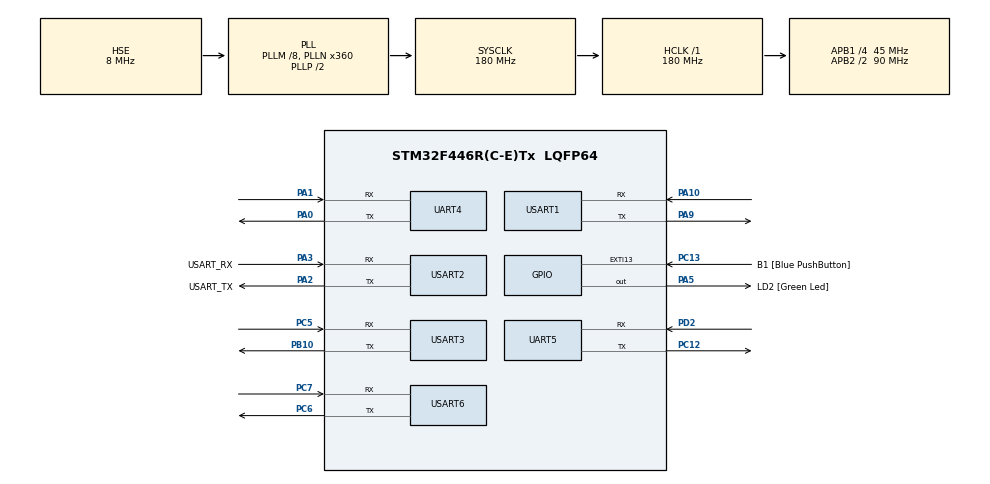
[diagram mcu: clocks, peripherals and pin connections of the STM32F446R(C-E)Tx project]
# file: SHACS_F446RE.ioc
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Dma.Request0=USART2_RX
Dma.USART2_RX.0.Direction=DMA_PERIPH_TO_MEMORY
Dma.USART2_RX.0.FIFOMode=DMA_FIFOMODE_DISABLE
Dma.USART2_RX.0.Instance=DMA1_Stream5
Dma.USART2_RX.0.MemDataAlignment=DMA_MDATAALIGN_BYTE
Dma.USART2_RX.0.MemInc=DMA_MINC_ENABLE
Dma.USART2_RX.0.Mode=DMA_CIRCULAR
Dma.USART2_RX.0.PeriphDataAlignment=DMA_PDATAALIGN_BYTE
Dma.USART2_RX.0.PeriphInc=DMA_PINC_DISABLE
Dma.USART2_RX.0.Priority=DMA_PRIORITY_VERY_HIGH
FREERTOS.Tasks01=defaultTask,0,128,StartDefaultTask,Default,NULL
Mcu.Family=STM32F4
Mcu.Name=STM32F446R(C-E)Tx
Mcu.Package=LQFP64
NVIC.DMA1_Stream5_IRQn=true\:5\:0\:false\:false\:true\:true\:false\:true
NVIC.PriorityGroup=NVIC_PRIORITYGROUP_4
NVIC.TIM1_UP_TIM10_IRQn=true\:0\:0\:false\:false\:true\:false\:false\:true
NVIC.TimeBase=TIM1_UP_TIM10_IRQn
NVIC.TimeBaseIP=TIM1
NVIC.UART4_IRQn=true\:5\:0\:false\:false\:true\:true\:true\:true
NVIC.UART5_IRQn=true\:5\:0\:false\:false\:true\:true\:true\:true
NVIC.USART1_IRQn=true\:5\:0\:false\:false\:true\:true\:true\:true
NVIC.USART2_IRQn=true\:5\:0\:false\:false\:true\:true\:true\:true
NVIC.USART3_IRQn=true\:5\:0\:false\:false\:true\:true\:true\:true
NVIC.USART6_IRQn=true\:5\:0\:false\:false\:true\:true\:true\:true
PA0-WKUP.Mode=Asynchronous
PA0-WKUP.Signal=UART4_TX
PA1.Mode=Asynchronous
PA1.Signal=UART4_RX
PA10.Mode=Asynchronous
PA10.Signal=USART1_RX
PA13.GPIO_Label=TMS
PA13.Signal=SYS_JTMS-SWDIO
PA14.GPIO_Label=TCK
PA14.Signal=SYS_JTCK-SWCLK
PA2.GPIO_Label=USART_TX
PA2.Mode=Asynchronous
PA2.Signal=USART2_TX
PA3.GPIO_Label=USART_RX
PA3.Mode=Asynchronous
PA3.Signal=USART2_RX
PA5.GPIO_Label=LD2 [Green Led]
PA5.Signal=GPIO_Output
PA9.Mode=Asynchronous
PA9.Signal=USART1_TX
PB10.Mode=Asynchronous
PB10.Signal=USART3_TX
PB3.GPIO_Label=SWO
PB3.Signal=SYS_JTDO-SWO
PC12.Mode=Asynchronous
PC12.Signal=UART5_TX
PC13.GPIO_Label=B1 [Blue PushButton]
PC13.GPIO_ModeDefaultEXTI=GPIO_MODE_IT_FALLING
PC13.Signal=GPXTI13
PC14-OSC32_IN.Mode=LSE-External-Oscillator
PC14-OSC32_IN.Signal=RCC_OSC32_IN
PC15-OSC32_OUT.Mode=LSE-External-Oscillator
PC15-OSC32_OUT.Signal=RCC_OSC32_OUT
PC5.Mode=Asynchronous
PC5.Signal=USART3_RX
PC6.Mode=Asynchronous
PC6.Signal=USART6_TX
PC7.Mode=Asynchronous
PC7.Signal=USART6_RX
PD2.Mode=Asynchronous
PD2.Signal=UART5_RX
PH0-OSC_IN.Mode=HSE-External-Oscillator
PH0-OSC_IN.Signal=RCC_OSC_IN
PH1-OSC_OUT.Mode=HSE-External-Oscillator
PH1-OSC_OUT.Signal=RCC_OSC_OUT
ProjectManager.HeapSize=0x800
ProjectManager.StackSize=0x400
ProjectManager.TargetToolchain=EWARM V7
RCC.48MHZClocksFreq_Value=84000000
RCC.AHBFreq_Value=180000000
RCC.APB1CLKDivider=RCC_HCLK_DIV4
RCC.APB1Freq_Value=45000000
RCC.APB1TimFreq_Value=90000000
RCC.APB2CLKDivider=RCC_HCLK_DIV2
RCC.APB2Freq_Value=90000000
RCC.APB2TimFreq_Value=180000000
RCC.CortexFreq_Value=180000000
RCC.FLatency-AdvancedSettings=FLASH_LATENCY_5
RCC.HCLKFreq_Value=180000000
RCC.HSE_VALUE=8000000
RCC.HSI_VALUE=16000000
RCC.PLLM=8
RCC.PLLN=360
RCC.PLLSourceVirtual=RCC_PLLSOURCE_HSE
RCC.SYSCLKFreq_VALUE=180000000
RCC.SYSCLKSource=RCC_SYSCLKSOURCE_PLLCLK
RCC.USBFreq_Value=180000000
RCC.VCOOutputFreq_Value=360000000
UART4.VirtualMode=Asynchronous
UART5.VirtualMode=Asynchronous
USART1.VirtualMode=VM_ASYNC
USART2.VirtualMode=VM_ASYNC
USART3.VirtualMode=VM_ASYNC
USART6.VirtualMode=VM_ASYNC
VP_FREERTOS_VS_CMSIS_V1.Mode=CMSIS_V1
VP_SYS_VS_tim1.Mode=TIM1
board=NUCLEO-F446RE

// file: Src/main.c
/* USER CODE BEGIN Header */
/**
  ******************************************************************************
  * @file           : main.c
  * @brief          : Main program body
  ******************************************************************************
  * @attention
  *
  * <h2><center>&copy; Copyright (c) 2019 STMicroelectronics.
  * All rights reserved.</center></h2>
  *
  * This software component is licensed by ST under Ultimate Liberty license
  * SLA0044, the "License"; You may not use this file except in compliance with
  * the License. You may obtain a copy of the License at:
  *                             www.st.com/SLA0044
  *
  ******************************************************************************
  */
/* USER CODE END Header */

#include "main.h"
#include "cmsis_os.h"

UART_HandleTypeDef huart4;
UART_HandleTypeDef huart5;
UART_HandleTypeDef huart1;
UART_HandleTypeDef huart2;
UART_HandleTypeDef huart3;
UART_HandleTypeDef huart6;
DMA_HandleTypeDef hdma_usart1_rx;

//#define	SHACS_BRD
#define	NUCLEO_446RE_LED_TEST
#define	WIFI_ON

#ifdef __GNUC__
#define PUTCHAR_PROTOTYPE int __io_putchar(int ch)
#else
#define PUTCHAR_PROTOTYPE int fputc(int ch, FILE *f)
#endif /* __GNUC__ */

PUTCHAR_PROTOTYPE
{
	HAL_UART_Transmit(&huart2, (uint8_t *)&ch, 1, 0xFFFF);
	return ch;
}

osThreadId defaultTaskHandle;
osThreadId Task1Handle;
osThreadId Task2Handle;
osThreadId Task3Handle;
osThreadId Task5Handle;
osThreadId Task6Handle;
osThreadId Task7Handle;
osThreadId Task8Handle;

osTimerId ZWhostAppTimerHandle;
osSemaphoreId ZwCommandQueueHandle;
osSemaphoreId ZwTransmitQueueHandle;
osSemaphoreId BtCommandQueueHandle;
osSemaphoreId UsbCommandQueueHandle;
osSemaphoreId WifiCommandQueueHandle;
osSemaphoreId BtResponseQueueHandle;
osSemaphoreId UsbResponseQueueHandle;
osSemaphoreId WifiResponseQueueHandle;

//#define		_USE_SEMAPHOE_HANDLING_UART
#ifdef	_USE_SEMAPHOE_HANDLING_UART
osSemaphoreId U1commandQueueHandle;
osSemaphoreId U3commandQueueHandle;
osSemaphoreId U4commandQueueHandle;
osSemaphoreId U5commandQueueHandle;
#endif

void SystemClock_Config(void);
static void MX_GPIO_Init(void);
static void MX_DMA_Init(void);
static void MX_UART4_Init(void);
static void MX_UART5_Init(void);
static void MX_USART1_UART_Init(void);
static void MX_USART2_UART_Init(void);
static void MX_USART3_UART_Init(void);
static void MX_USART6_UART_Init(void);
//void StartDefaultTask(void const * argument);
void CallbackFuntion(void const * argument);
void LedTask1(void const * argument);

extern	void APIProcTask(void const * argument);
extern 	void DispatchProcTask(void const * argument);
extern 	void BtSerialApp(void const * argument);
extern 	void UsbSerialApp(void const * argument);
#ifdef	WIFI_ON
extern 	void WifiSerialApp(void const * argument);
#endif
extern 	void ZWApp_main(void const * argument);

#define	UART1_RX_BUF_SIZE	64

uint8_t	Uart1_Rx_buffer[UART1_RX_BUF_SIZE];
uint8_t	Widx1 = 0;
uint8_t	Ridx1 = 0;
/* DMA Timeout event structure
 * Note: prevCNDTR initial value must be set to maximum size of DMA buffer!
*/
DMA_Event_t dma_uart_rx = {0,0,DMA_BUF_SIZE};

uint8_t dma_rx_buf[DMA_BUF_SIZE];       /* Circular buffer for DMA */
uint8_t data[DMA_BUF_SIZE] = {'\0'};    /* Data buffer that contains newly received data */

#define	UART3_RX_BUF_SIZE	32

uint8_t	Uart3_Rx_buffer[UART3_RX_BUF_SIZE];
uint8_t	Widx3 = 0;
uint8_t	Ridx3 = 0;

#define	UART4_RX_BUF_SIZE	32

uint8_t	Uart4_Rx_buffer[UART4_RX_BUF_SIZE];
uint8_t	Widx4 = 0;
uint8_t	Ridx4 = 0;

#define	UART5_RX_BUF_SIZE	32

uint8_t	Uart5_Rx_buffer[UART5_RX_BUF_SIZE];
uint8_t	Widx5 = 0;
uint8_t	Ridx5 = 0;

#define	UART6_RX_BUF_SIZE	32

uint8_t	Uart6_Rx_buffer[UART6_RX_BUF_SIZE];
uint8_t	Widx6 = 0;
uint8_t	Ridx6 = 0;

int main(void)
{

  /* MCU Configuration--------------------------------------------------------*/

  /* Reset of all peripherals, Initializes the Flash interface and the Systick. */
  HAL_Init();

  /* Configure the system clock */
  SystemClock_Config();

  /* Initialize all configured peripherals */
  MX_GPIO_Init();
  MX_DMA_Init();
#ifdef WIFI_ON
  MX_UART4_Init();
#endif
  MX_UART5_Init();
  MX_USART1_UART_Init();
  MX_USART2_UART_Init();
  MX_USART3_UART_Init();
  MX_USART6_UART_Init();

  // LED
  HAL_GPIO_WritePin(GPIOC, GPIO_PIN_5, GPIO_PIN_SET);
  HAL_GPIO_WritePin(GPIOC, GPIO_PIN_6, GPIO_PIN_RESET);
  HAL_GPIO_WritePin(GPIOC, GPIO_PIN_7, GPIO_PIN_RESET);

  // OTG Disable ????
  HAL_GPIO_WritePin(GPIOB, GPIO_PIN_6, GPIO_PIN_SET);
  HAL_GPIO_WritePin(GPIOB, GPIO_PIN_5, GPIO_PIN_RESET);

  /* USER CODE BEGIN 2 */
  __HAL_UART_ENABLE_IT(&huart3, UART_IT_RXNE);
#ifdef	WIFI_ON
  __HAL_UART_ENABLE_IT(&huart4, UART_IT_RXNE);
#endif
  __HAL_UART_ENABLE_IT(&huart5, UART_IT_RXNE);
  __HAL_UART_ENABLE_IT(&huart6, UART_IT_RXNE);
//  __HAL_UART_ENABLE_IT(&huart1, UART_IT_IDLE);
  /* USER CODE END 2 */

  //  HAL_GPIO_WritePin(GPIOC, GPIO_PIN_7, 1);

  /* Create the semaphores(s) */
  /* definition and creation of commandQueue */
  osSemaphoreDef(ZwCommandQueue);
  ZwCommandQueueHandle = osSemaphoreCreate(osSemaphore(ZwCommandQueue), 1);

  /* definition and creation of transmitQueue */
  osSemaphoreDef(ZwTransmitQueue);
  ZwTransmitQueueHandle = osSemaphoreCreate(osSemaphore(ZwTransmitQueue), 1);

  /* definition and creation of BtcommandQueue */
  osSemaphoreDef(BtCommandQueue);
  BtCommandQueueHandle = osSemaphoreCreate(osSemaphore(BtCommandQueue), 1);

  /* definition and creation of UsbcommandQueue */
  osSemaphoreDef(UsbCommandQueue);
  UsbCommandQueueHandle = osSemaphoreCreate(osSemaphore(UsbCommandQueue), 1);

  /* definition and creation of WificommandQueue */
  osSemaphoreDef(WifiCommandQueue);
  WifiCommandQueueHandle = osSemaphoreCreate(osSemaphore(WifiCommandQueue), 1);

  /* definition and creation of BtresponseQueue */
  osSemaphoreDef(BtResponseQueue);
  BtResponseQueueHandle = osSemaphoreCreate(osSemaphore(BtResponseQueue), 1);

  /* definition and creation of UsbcommandQueue */
  osSemaphoreDef(UsbResponseQueue);
  UsbResponseQueueHandle = osSemaphoreCreate(osSemaphore(UsbResponseQueue), 1);

  /* definition and creation of WificommandQueue */
  osSemaphoreDef(WifiResponseQueue);
  WifiResponseQueueHandle = osSemaphoreCreate(osSemaphore(WifiResponseQueue), 1);

#ifdef	_USE_SEMAPHOE_HANDLING_UART
  /* definition and creation of U1commandQueue */
  osSemaphoreDef(U1commandQueue);
  U1commandQueueHandle = osSemaphoreCreate(osSemaphore(U1commandQueue), 1);

  /* definition and creation of U3commandQueue */
  osSemaphoreDef(U3commandQueue);
  U3commandQueueHandle = osSemaphoreCreate(osSemaphore(U3commandQueue), 1);

  /* definition and creation of U4commandQueue */
  osSemaphoreDef(U4commandQueue);
  U4commandQueueHandle = osSemaphoreCreate(osSemaphore(U4commandQueue), 1);

  /* definition and creation of U5commandQueue */
  osSemaphoreDef(U5commandQueue);
  U5commandQueueHandle = osSemaphoreCreate(osSemaphore(U5commandQueue), 1);

  /* definition and creation of U5commandQueue */
  osSemaphoreDef(U6commandQueue);
  U6commandQueueHandle = osSemaphoreCreate(osSemaphore(U6commandQueue), 1);
#endif

  /* Create the timer(s) */
  /* definition and creation of ZWhostAppTimer */
  osTimerDef(ZWhostAppTimer, CallbackFuntion);
  ZWhostAppTimerHandle = osTimerCreate(osTimer(ZWhostAppTimer), osTimerPeriodic, NULL);

  /* Create the thread(s) */
  /* definition and creation of defaultTask */
//  osThreadDef(defaultTask, StartDefaultTask, osPriorityNormal, 0, 128);
//  defaultTaskHandle = osThreadCreate(osThread(defaultTask), NULL);

  /* USER CODE BEGIN RTOS_THREADS */
  /* add threads, ... */
    osThreadDef(Task1, DispatchProcTask, osPriorityAboveNormal, 0, 1024);
    Task1Handle = osThreadCreate(osThread(Task1), NULL);

    osThreadDef(Task2, LedTask1, osPriorityLow, 0, 128);
    Task2Handle = osThreadCreate(osThread(Task2), NULL);

    osThreadDef(Task3, APIProcTask, osPriorityHigh, 0, 1024);
    Task3Handle = osThreadCreate(osThread(Task3), NULL);

    osThreadDef(Task5, BtSerialApp, osPriorityBelowNormal, 0, 512);
    Task5Handle = osThreadCreate(osThread(Task5), NULL);

    osThreadDef(Task6, UsbSerialApp, osPriorityBelowNormal, 0, 512);
    Task6Handle = osThreadCreate(osThread(Task6), NULL);

 #ifdef	WIFI_ON
    osThreadDef(Task8, WifiSerialApp, osPriorityBelowNormal, 0, 512);
    Task8Handle = osThreadCreate(osThread(Task8), NULL);
 #endif

    osThreadDef(Task7, ZWApp_main, osPriorityNormal, 0, 1024);
    Task7Handle = osThreadCreate(osThread(Task7), NULL);

  /* USER CODE END RTOS_THREADS */

  /* Start scheduler */
  osKernelStart();

  /* We should never get here as control is now taken by the scheduler */

  /* Infinite loop */
  /* USER CODE BEGIN WHILE */
   if(HAL_UART_Receive_DMA(&huart1, (uint8_t*)dma_rx_buf, DMA_BUF_SIZE) != HAL_OK)
  {
      Error_Handler();
  }

  /* Disable Half Transfer Interrupt */
  __HAL_DMA_DISABLE_IT(huart1.hdmarx, DMA_IT_HT);

  while (1)
  {
    /* USER CODE END WHILE */

  }
}

#ifdef SHACS_BRD
void SystemClock_Config(void)
{
  RCC_OscInitTypeDef RCC_OscInitStruct = {0};
  RCC_ClkInitTypeDef RCC_ClkInitStruct = {0};

  /** Configure the main internal regulator output voltage
  */
  __HAL_RCC_PWR_CLK_ENABLE();
  __HAL_PWR_VOLTAGESCALING_CONFIG(PWR_REGULATOR_VOLTAGE_SCALE1);
  /** Initializes the CPU, AHB and APB busses clocks
  */
  RCC_OscInitStruct.OscillatorType = RCC_OSCILLATORTYPE_HSE;
  RCC_OscInitStruct.HSEState = RCC_HSE_ON;
  RCC_OscInitStruct.PLL.PLLState = RCC_PLL_ON;
  RCC_OscInitStruct.PLL.PLLSource = RCC_PLLSOURCE_HSE;
  RCC_OscInitStruct.PLL.PLLM = 8;
  RCC_OscInitStruct.PLL.PLLN = 360;
  RCC_OscInitStruct.PLL.PLLP = RCC_PLLP_DIV2;
  RCC_OscInitStruct.PLL.PLLQ = 2;
  RCC_OscInitStruct.PLL.PLLR = 2;
  if (HAL_RCC_OscConfig(&RCC_OscInitStruct) != HAL_OK)
  {
    Error_Handler();
  }
  /** Activate the Over-Drive mode
  */
  if (HAL_PWREx_EnableOverDrive() != HAL_OK)
  {
    Error_Handler();
  }
  /** Initializes the CPU, AHB and APB busses clocks
  */
  RCC_ClkInitStruct.ClockType = RCC_CLOCKTYPE_HCLK|RCC_CLOCKTYPE_SYSCLK
                              |RCC_CLOCKTYPE_PCLK1|RCC_CLOCKTYPE_PCLK2;
  RCC_ClkInitStruct.SYSCLKSource = RCC_SYSCLKSOURCE_PLLCLK;
  RCC_ClkInitStruct.AHBCLKDivider = RCC_SYSCLK_DIV1;
  RCC_ClkInitStruct.APB1CLKDivider = RCC_HCLK_DIV4;
  RCC_ClkInitStruct.APB2CLKDivider = RCC_HCLK_DIV2;

  if (HAL_RCC_ClockConfig(&RCC_ClkInitStruct, FLASH_LATENCY_5) != HAL_OK)
  {
    Error_Handler();
  }
}

#else
void SystemClock_Config(void)
{
  RCC_OscInitTypeDef RCC_OscInitStruct = {0};
  RCC_ClkInitTypeDef RCC_ClkInitStruct = {0};

  /** Configure the main internal regulator output voltage
  */
  __HAL_RCC_PWR_CLK_ENABLE();
  __HAL_PWR_VOLTAGESCALING_CONFIG(PWR_REGULATOR_VOLTAGE_SCALE1);
  /** Initializes the CPU, AHB and APB busses clocks
  */
  RCC_OscInitStruct.OscillatorType = RCC_OSCILLATORTYPE_HSI;
  RCC_OscInitStruct.HSIState = RCC_HSI_ON;
  RCC_OscInitStruct.HSICalibrationValue = RCC_HSICALIBRATION_DEFAULT;
  RCC_OscInitStruct.PLL.PLLState = RCC_PLL_ON;
  RCC_OscInitStruct.PLL.PLLSource = RCC_PLLSOURCE_HSI;
  RCC_OscInitStruct.PLL.PLLM = 16;
  RCC_OscInitStruct.PLL.PLLN = 360;
  RCC_OscInitStruct.PLL.PLLP = RCC_PLLP_DIV2;
  RCC_OscInitStruct.PLL.PLLQ = 2;
  RCC_OscInitStruct.PLL.PLLR = 2;
  if (HAL_RCC_OscConfig(&RCC_OscInitStruct) != HAL_OK)
  {
    Error_Handler();
  }
  /** Activate the Over-Drive mode
  */
  if (HAL_PWREx_EnableOverDrive() != HAL_OK)
  {
    Error_Handler();
  }
  /** Initializes the CPU, AHB and APB busses clocks
  */
  RCC_ClkInitStruct.ClockType = RCC_CLOCKTYPE_HCLK|RCC_CLOCKTYPE_SYSCLK
                              |RCC_CLOCKTYPE_PCLK1|RCC_CLOCKTYPE_PCLK2;
  RCC_ClkInitStruct.SYSCLKSource = RCC_SYSCLKSOURCE_PLLCLK;
  RCC_ClkInitStruct.AHBCLKDivider = RCC_SYSCLK_DIV1;
  RCC_ClkInitStruct.APB1CLKDivider = RCC_HCLK_DIV4;
  RCC_ClkInitStruct.APB2CLKDivider = RCC_HCLK_DIV2;

  if (HAL_RCC_ClockConfig(&RCC_ClkInitStruct, FLASH_LATENCY_5) != HAL_OK)
  {
    Error_Handler();
  }
}
#endif

static void MX_UART4_Init(void)
{

  huart4.Instance = UART4;
  huart4.Init.BaudRate = 115200;
  huart4.Init.WordLength = UART_WORDLENGTH_8B;
  huart4.Init.StopBits = UART_STOPBITS_1;
  huart4.Init.Parity = UART_PARITY_NONE;
  huart4.Init.Mode = UART_MODE_TX_RX;
  huart4.Init.HwFlowCtl = UART_HWCONTROL_NONE;
  huart4.Init.OverSampling = UART_OVERSAMPLING_16;
  if (HAL_UART_Init(&huart4) != HAL_OK)
  {
    Error_Handler();
  }

}

static void MX_UART5_Init(void)
{

  huart5.Instance = UART5;
  huart5.Init.BaudRate = 115200;
  huart5.Init.WordLength = UART_WORDLENGTH_8B;
  huart5.Init.StopBits = UART_STOPBITS_1;
  huart5.Init.Parity = UART_PARITY_NONE;
  huart5.Init.Mode = UART_MODE_TX_RX;
  huart5.Init.HwFlowCtl = UART_HWCONTROL_NONE;
  huart5.Init.OverSampling = UART_OVERSAMPLING_16;
  if (HAL_UART_Init(&huart5) != HAL_OK)
  {
    Error_Handler();
  }

}

static void MX_USART1_UART_Init(void)
{

  huart1.Instance = USART1;
  huart1.Init.BaudRate = 115200;
  huart1.Init.WordLength = UART_WORDLENGTH_8B;
  huart1.Init.StopBits = UART_STOPBITS_1;
  huart1.Init.Parity = UART_PARITY_NONE;
  huart1.Init.Mode = UART_MODE_TX_RX;
  huart1.Init.HwFlowCtl = UART_HWCONTROL_NONE;
  huart1.Init.OverSampling = UART_OVERSAMPLING_16;
  if (HAL_UART_Init(&huart1) != HAL_OK)
  {
    Error_Handler();
  }

}

static void MX_USART2_UART_Init(void)
{

  huart2.Instance = USART2;
  huart2.Init.BaudRate = 115200;
  huart2.Init.WordLength = UART_WORDLENGTH_8B;
  huart2.Init.StopBits = UART_STOPBITS_1;
  huart2.Init.Parity = UART_PARITY_NONE;
  huart2.Init.Mode = UART_MODE_TX_RX;
  huart2.Init.HwFlowCtl = UART_HWCONTROL_NONE;
  huart2.Init.OverSampling = UART_OVERSAMPLING_16;
  if (HAL_UART_Init(&huart2) != HAL_OK)
  {
    Error_Handler();
  }

}

static void MX_USART3_UART_Init(void)
{

  huart3.Instance = USART3;
  huart3.Init.BaudRate = 115200;
  huart3.Init.WordLength = UART_WORDLENGTH_8B;
  huart3.Init.StopBits = UART_STOPBITS_1;
  huart3.Init.Parity = UART_PARITY_NONE;
  huart3.Init.Mode = UART_MODE_TX_RX;
  huart3.Init.HwFlowCtl = UART_HWCONTROL_NONE;
  huart3.Init.OverSampling = UART_OVERSAMPLING_16;
  if (HAL_UART_Init(&huart3) != HAL_OK)
  {
    Error_Handler();
  }

}

static void MX_USART6_UART_Init(void)
{

  huart6.Instance = USART6;
  huart6.Init.BaudRate = 115200;
  huart6.Init.WordLength = UART_WORDLENGTH_8B;
  huart6.Init.StopBits = UART_STOPBITS_1;
  huart6.Init.Parity = UART_PARITY_NONE;
  huart6.Init.Mode = UART_MODE_TX_RX;
  huart6.Init.HwFlowCtl = UART_HWCONTROL_NONE;
  huart6.Init.OverSampling = UART_OVERSAMPLING_16;
  if (HAL_UART_Init(&huart6) != HAL_OK)
  {
    Error_Handler();
  }

}

static void MX_DMA_Init(void)
{
  /* DMA controller clock enable */
  __HAL_RCC_DMA2_CLK_ENABLE();

  /* DMA interrupt init */
  /* DMA2_Stream2_IRQn interrupt configuration */
  HAL_NVIC_SetPriority(DMA2_Stream2_IRQn, 5, 0);
  HAL_NVIC_EnableIRQ(DMA2_Stream2_IRQn);

}

static void MX_GPIO_Init(void)
{
  GPIO_InitTypeDef GPIO_InitStruct = {0};

  /* GPIO Ports Clock Enable */
  __HAL_RCC_GPIOC_CLK_ENABLE();
  __HAL_RCC_GPIOH_CLK_ENABLE();
  __HAL_RCC_GPIOA_CLK_ENABLE();
  __HAL_RCC_GPIOB_CLK_ENABLE();
  __HAL_RCC_GPIOD_CLK_ENABLE();

 #ifdef	NUCLEO_446RE_LED_TEST
  /*Configure GPIO pin Output Level */
  HAL_GPIO_WritePin(LD2_GPIO_Port, LD2_Pin, GPIO_PIN_RESET);

  /*Configure GPIO pin : B1_Pin */
  GPIO_InitStruct.Pin = B1_Pin;
  GPIO_InitStruct.Mode = GPIO_MODE_IT_FALLING;
  GPIO_InitStruct.Pull = GPIO_NOPULL;
  HAL_GPIO_Init(B1_GPIO_Port, &GPIO_InitStruct);

  /*Configure GPIO pin : LD2_Pin */
  GPIO_InitStruct.Pin = LD2_Pin;
  GPIO_InitStruct.Mode = GPIO_MODE_OUTPUT_PP;
  GPIO_InitStruct.Pull = GPIO_NOPULL;
  GPIO_InitStruct.Speed = GPIO_SPEED_FREQ_LOW;
  HAL_GPIO_Init(LD2_GPIO_Port, &GPIO_InitStruct);
#endif

  /* EXTI interrupt init*/
  HAL_NVIC_SetPriority(EXTI15_10_IRQn, 5, 0);
  HAL_NVIC_EnableIRQ(EXTI15_10_IRQn);

}

/* USER CODE BEGIN 4 */
/** DMA Rx Complete AND DMA Rx Timeout function
 * Timeout event: generated after UART IDLE IT + DMA Timeout value
 * Scenarios:
 *  - Timeout event when previous event was DMA Rx Complete --> new data is from buffer beginning till (MAX-currentCNDTR)
 *  - Timeout event when previous event was Timeout event   --> buffer contains old data, new data is in the "middle": from (MAX-previousCNDTR) till (MAX-currentCNDTR)
 *  - DMA Rx Complete event when previous event was DMA Rx Complete --> entire buffer holds new data
 *  - DMA Rx Complete event when previous event was Timeout event   --> buffer entirely filled but contains old data, new data is from (MAX-previousCNDTR) till MAX
 * Remarks:
*  - If there is no following data after DMA Rx Complete, the generated IDLE Timeout has to be ignored!
*  - When buffer overflow occurs, the following has to be performed in order not to lose data:
*      (1): DMA Rx Complete event occurs, process first part of new data till buffer MAX.
*      (2): In this case, the currentCNDTR is already decreased because of overflow.
*              However, previousCNDTR has to be set to MAX in order to signal for upcoming Timeout event that new data has to be processed from buffer beginning.
*      (3): When many overflows occur, simply process DMA Rx Complete events (process entire DMA buffer) until Timeout event occurs.
*      (4): When there is no more overflow, Timeout event occurs, process last part of data from buffer beginning till currentCNDTR.
*/

void DMA_Uart1(DMA_HandleTypeDef *huart)
{
  //    uint16_t i, pos, start, length;
  //    uint16_t currCNDTR = __HAL_DMA_GET_COUNTER(huart->hdmarx);
  //
  //	if (huart->Instance == USART1)
  //	{
  //
  //		/* Ignore IDLE Timeout when the received characters exactly filled up the DMA buffer and DMA Rx Complete IT is generated, but there is no new character during timeout */
  //		if(dma_uart_rx.flag && currCNDTR == DMA_BUF_SIZE)
  //		{
  //			dma_uart_rx.flag = 0;
  //			return;
  //		}
  //
  //		/* Determine start position in DMA buffer based on previous CNDTR value */
  //		start = (dma_uart_rx.prevCNDTR < DMA_BUF_SIZE) ? (DMA_BUF_SIZE - dma_uart_rx.prevCNDTR) : 0;
  //
  //		if(dma_uart_rx.flag)    /* Timeout event */
  //		{
  //			/* Determine new data length based on previous DMA_CNDTR value:
  //			 *  If previous CNDTR is less than DMA buffer size: there is old data in DMA buffer (from previous timeout) that has to be ignored.
  //			 *  If CNDTR == DMA buffer size: entire buffer content is new and has to be processed.
  //			 */
  //			length = (dma_uart_rx.prevCNDTR < DMA_BUF_SIZE) ? (dma_uart_rx.prevCNDTR - currCNDTR) : (DMA_BUF_SIZE - currCNDTR);
  //			dma_uart_rx.prevCNDTR = currCNDTR;
  //			dma_uart_rx.flag = 0;
  //		}
  //		else                /* DMA Rx Complete event */
  //		{
  //			length = DMA_BUF_SIZE - start;
  //			dma_uart_rx.prevCNDTR = DMA_BUF_SIZE;
  //		}
  //
  //		/* Copy and Process new data */
  //		for(i=0,pos=start; i<length; ++i,++pos)
  //		{
  //			Uart1_Rx_buffer[Widx1] = dma_rx_buf[pos];
  //			Widx1++;
  //			Widx1 = Widx1 % UART1_RX_BUF_SIZE;
  //		}
  //	}
  uint16_t i, pos, start, length;
  uint16_t currCNDTR = __HAL_DMA_GET_COUNTER(huart);

  /* Ignore IDLE Timeout when the received characters exactly filled up the DMA buffer and DMA Rx Complete IT is generated, but there is no new character during timeout */
  if(dma_uart_rx.flag && currCNDTR == DMA_BUF_SIZE)
  {
    dma_uart_rx.flag = 0;
    return;
  }

  /* Determine start position in DMA buffer based on previous CNDTR value */
  start = (dma_uart_rx.prevCNDTR < DMA_BUF_SIZE) ? (DMA_BUF_SIZE - dma_uart_rx.prevCNDTR) : 0;

  if(dma_uart_rx.flag)    /* Timeout event */
  {
    /* Determine new data length based on previous DMA_CNDTR value:
    *  If previous CNDTR is less than DMA buffer size: there is old data in DMA buffer (from previous timeout) that has to be ignored.
    *  If CNDTR == DMA buffer size: entire buffer content is new and has to be processed.
    */
    length = (dma_uart_rx.prevCNDTR < DMA_BUF_SIZE) ? (dma_uart_rx.prevCNDTR - currCNDTR) : (DMA_BUF_SIZE - currCNDTR);
    dma_uart_rx.prevCNDTR = currCNDTR;
    dma_uart_rx.flag = 0;
  }
  else                /* DMA Rx Complete event */
  {
    length = DMA_BUF_SIZE - start;
    dma_uart_rx.prevCNDTR = DMA_BUF_SIZE;
  }

  /* Copy and Process new data */
  for(i=0,pos=start; i<length; ++i,++pos)
  {
    Uart1_Rx_buffer[Widx1] = dma_rx_buf[pos];
    Widx1++;
    Widx1 = Widx1 % UART1_RX_BUF_SIZE;
  }
  HAL_UART_Receive_DMA(&huart1, (uint8_t*)dma_rx_buf, DMA_BUF_SIZE);
}

void HAL_UART_RxCpltCallback(UART_HandleTypeDef *huart)
{
	char	ch;
	char	sema = 0;
    uint16_t i, pos, start, length;
    uint16_t currCNDTR;

	if (huart->Instance == USART1)
	{
	    currCNDTR = __HAL_DMA_GET_COUNTER(huart->hdmarx);
		/* Ignore IDLE Timeout when the received characters exactly filled up the DMA buffer and DMA Rx Complete IT is generated, but there is no new character during timeout */
		if(dma_uart_rx.flag && currCNDTR == DMA_BUF_SIZE)
		{
			dma_uart_rx.flag = 0;
			return;
		}

		/* Determine start position in DMA buffer based on previous CNDTR value */
		start = (dma_uart_rx.prevCNDTR < DMA_BUF_SIZE) ? (DMA_BUF_SIZE - dma_uart_rx.prevCNDTR) : 0;

		if(dma_uart_rx.flag)    /* Timeout event */
		{
			/* Determine new data length based on previous DMA_CNDTR value:
			 *  If previous CNDTR is less than DMA buffer size: there is old data in DMA buffer (from previous timeout) that has to be ignored.
			 *  If CNDTR == DMA buffer size: entire buffer content is new and has to be processed.
			 */
			length = (dma_uart_rx.prevCNDTR < DMA_BUF_SIZE) ? (dma_uart_rx.prevCNDTR - currCNDTR) : (DMA_BUF_SIZE - currCNDTR);
			dma_uart_rx.prevCNDTR = currCNDTR;
			dma_uart_rx.flag = 0;
		}
		else                /* DMA Rx Complete event */
		{
			length = DMA_BUF_SIZE - start;
			dma_uart_rx.prevCNDTR = DMA_BUF_SIZE;
		}

		/* Copy and Process new data */
		for(i=0,pos=start; i<length; ++i,++pos)
		{
			Uart1_Rx_buffer[Widx1] = dma_rx_buf[pos];
			Widx1++;
			Widx1 = Widx1 % UART1_RX_BUF_SIZE;
		}
		HAL_UART_Receive_DMA(&huart1, (uint8_t*)dma_rx_buf, DMA_BUF_SIZE);
	}
	else if (huart->Instance == USART3)
	{
		while (HAL_UART_Receive_IT(&huart3,(uint8_t *)&ch,1) == HAL_OK)
		{
			Uart3_Rx_buffer[Widx3] = ch;
#ifdef	_USE_SEMAPHOE_HANDLING_UART
			if (sema == 0 )
			{
				osSemaphoreWait(U3commandQueueHandle, 0);
				sema = 1;
			}
#endif
			Widx3++;
			Widx3 = Widx3 % UART3_RX_BUF_SIZE;
//			printf("I3[%02x]", ch);
		}
#ifdef	_USE_SEMAPHOE_HANDLING_UART
		if (sema != 0)
			osSemaphoreRelease(U3commandQueueHandle);
#endif
//		printf("\r\n");
	}
	else if (huart->Instance == UART4)
	{
		while (HAL_UART_Receive_IT(&huart4,(uint8_t *)&ch,1) == HAL_OK)
		{
			Uart4_Rx_buffer[Widx4] = ch;
#ifdef	_USE_SEMAPHOE_HANDLING_UART
			if (sema == 0 )
			{
				osSemaphoreWait(U4commandQueueHandle, 0);
				sema = 1;
			}
#endif
			Widx4++;
			Widx4 = Widx4 % UART4_RX_BUF_SIZE;
//			printf("I4[%02x]", ch);
		}
#ifdef	_USE_SEMAPHOE_HANDLING_UART
		if (sema != 0)
			osSemaphoreRelease(U4commandQueueHandle);
#endif
//		printf("\r\n");
	}
	else if (huart->Instance == UART5)
	{
		while (HAL_UART_Receive_IT(&huart5,&ch,1) == HAL_OK)
		{
			Uart5_Rx_buffer[Widx5] = ch;
#ifdef	_USE_SEMAPHOE_HANDLING_UART
			if (sema == 0 )
			{
				osSemaphoreWait(U5commandQueueHandle, 0);
				sema = 1;
			}
#endif
			Widx5++;
			Widx5 = Widx5 % UART5_RX_BUF_SIZE;
//			printf("I5[%02x]", ch);
		}
#ifdef	_USE_SEMAPHOE_HANDLING_UART
		if (sema != 0)
			osSemaphoreRelease(U5commandQueueHandle);
#endif
//		printf("\r\n");
	}
        else if (huart->Instance == USART6)
	{
		while (HAL_UART_Receive_IT(&huart6,&ch,1) == HAL_OK)
		{
			Uart6_Rx_buffer[Widx6] = ch;
#ifdef	_USE_SEMAPHOE_HANDLING_UART
			if (sema == 0 )
			{
				osSemaphoreWait(U6commandQueueHandle, 0);
				sema = 1;
			}
#endif
			Widx6++;
			Widx6 = Widx6 % UART6_RX_BUF_SIZE;
//			printf("I5[%02x]", ch);
		}
#ifdef	_USE_SEMAPHOE_HANDLING_UART
		if (sema != 0)
			osSemaphoreRelease(U6commandQueueHandle);
#endif
//		printf("\r\n");
	}
}

/* Error callback */
void HAL_UART_ErrorCallback(UART_HandleTypeDef *huart)
{
    Error_Handler();
}

int	Uart1_GetChar(unsigned char *ch, int timeout)
{
	int	rd;

	while (Widx1 == Ridx1)
	{
		if (--timeout > 0)
			osDelay(1);
		else
			return	0;
	}

	*ch = Uart1_Rx_buffer[Ridx1++];
	Ridx1 = Ridx1 % UART1_RX_BUF_SIZE;
	return	1;
}

int	Uart3_GetChar(unsigned char *ch, int timeout)
{
	int	rd;

	while (Widx3 == Ridx3)
	{
		if (--timeout > 0)
			osDelay(1);
		else
			return	0;
	}

	*ch = Uart3_Rx_buffer[Ridx3++];
	Ridx3 = Ridx3 % UART3_RX_BUF_SIZE;
	return	1;
}

int	Uart4_GetChar(unsigned char *ch, int timeout)
{
	int	rd;

	while (Widx4 == Ridx4)
	{
		if (--timeout > 0)
			osDelay(1);
		else
			return	0;
	}

	*ch = Uart4_Rx_buffer[Ridx4++];
	Ridx4 = Ridx4 % UART4_RX_BUF_SIZE;
	return	1;
}

int	Uart5_GetChar(unsigned char *ch, int timeout)
{
	int	rd;

	while (Widx5 == Ridx5)
	{
		if (--timeout > 0)
			osDelay(1);
		else
			return	0;
	}

	*ch = Uart5_Rx_buffer[Ridx5++];
	Ridx5 = Ridx5 % UART5_RX_BUF_SIZE;
	return	1;
}

int	Uart6_GetChar(unsigned char *ch, int timeout)
{
	int	rd;

	while (Widx6 == Ridx6)
	{
		if (--timeout > 0)
			osDelay(1);
		else
			return	0;
	}

	*ch = Uart5_Rx_buffer[Ridx5++];
	Ridx6 = Ridx6 % UART6_RX_BUF_SIZE;
	return	1;
}
/* USER CODE END 4 */

//void StartDefaultTask(void const * argument)
//{
//
//  /* USER CODE BEGIN 5 */
//  /* Infinite loop */
//  for(;;)
//  {
//    osDelay(1);
//  }
//  /* USER CODE END 5 */
//}

/* CallbackFuntion function */
void CallbackFuntion(void const * argument)
{
  /* USER CODE BEGIN CallbackFuntion */
  //printf("Tmr:--> Out\r\n");
  /* USER CODE END CallbackFuntion */
}

/* LedTask function */
void LedTask1(void const * argument)
{

  /* USER CODE BEGIN 5 */
  /* Infinite loop */
  for(;;)
  {

	HAL_GPIO_TogglePin(GPIOC, GPIO_PIN_6);

#ifdef	  NUCLEO_446RE_LED_TEST
	HAL_GPIO_TogglePin(GPIOA, GPIO_PIN_5);
#endif
    osDelay(1000);
  }
  /* USER CODE END 5 */
}

void HAL_TIM_PeriodElapsedCallback(TIM_HandleTypeDef *htim)
{
  if (htim->Instance == TIM1) {
    HAL_IncTick();
  }
}

void Error_Handler(void)
{
}

/************************ (C) COPYRIGHT STMicroelectronics *****END OF FILE****/

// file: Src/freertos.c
/* USER CODE BEGIN Header */
/**
  ******************************************************************************
  * File Name          : freertos.c
  * Description        : Code for freertos applications
  ******************************************************************************
  * @attention
  *
  * <h2><center>&copy; Copyright (c) 2019 STMicroelectronics.
  * All rights reserved.</center></h2>
  *
  * This software component is licensed by ST under Ultimate Liberty license
  * SLA0044, the "License"; You may not use this file except in compliance with
  * the License. You may obtain a copy of the License at:
  *                             www.st.com/SLA0044
  *
  ******************************************************************************
  */
/* USER CODE END Header */

#include "FreeRTOS.h"
#include "task.h"
#include "main.h"

/* Hook prototypes */
void vApplicationStackOverflowHook(xTaskHandle xTask, signed char *pcTaskName);

/* USER CODE BEGIN 4 */
void vApplicationStackOverflowHook(xTaskHandle xTask, signed char *pcTaskName)
{
   /* Run time stack overflow checking is performed if
   configCHECK_FOR_STACK_OVERFLOW is defined to 1 or 2. This hook function is
   called if a stack overflow is detected. */
	printf("FreeRTOS:ERROR[%x](%s)\r\n", xTask, pcTaskName);
	asm("BKPT #0");
}

/************************ (C) COPYRIGHT STMicroelectronics *****END OF FILE****/
